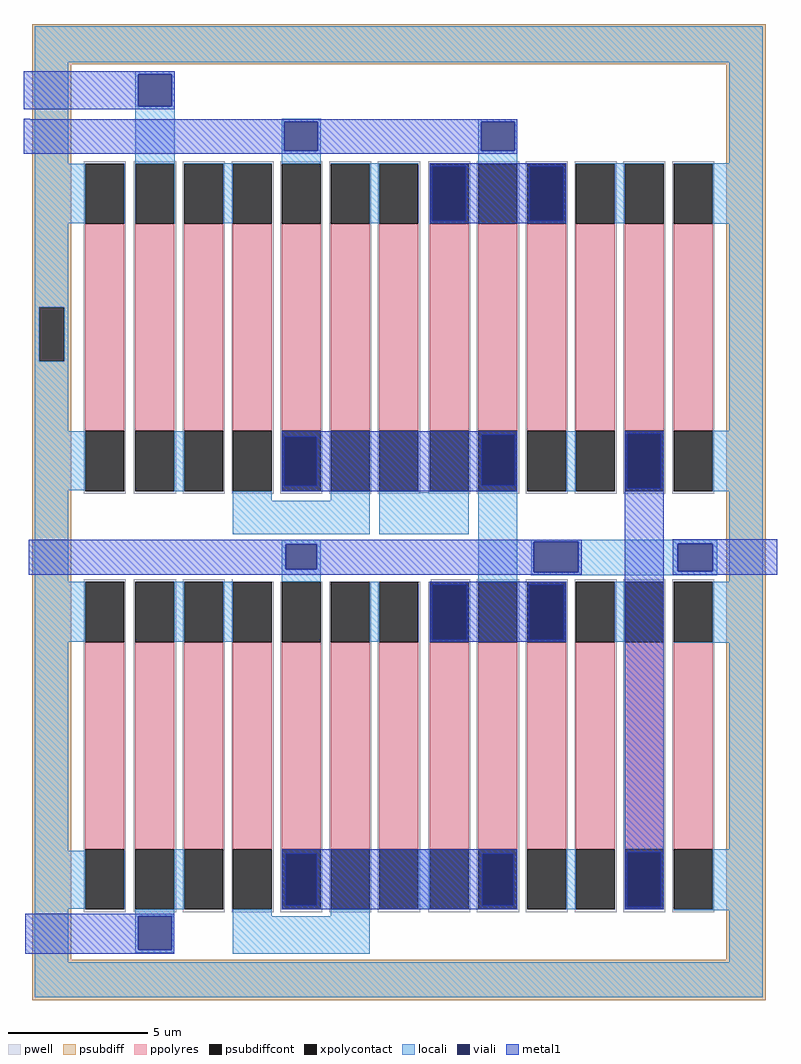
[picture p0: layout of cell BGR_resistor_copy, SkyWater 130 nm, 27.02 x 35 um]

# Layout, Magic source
magic
tech sky130A
<< pwell >>
rect 110 -235 261 958
rect 290 -235 441 958
rect 465 -235 616 958
rect 640 -235 791 958
rect 815 -235 966 958
rect 990 -235 1141 958
rect 1165 -235 1316 958
rect 1345 -235 1496 958
rect 1520 -235 1671 958
rect 1695 -235 1846 958
rect 1870 -235 2021 958
rect 2045 35 2196 958
rect 2045 -235 2195 35
rect 2220 -235 2371 958
rect 110 -1735 261 -542
rect 290 -1735 441 -542
rect 465 -1735 616 -542
rect 640 -550 645 -542
rect 1355 -550 1496 -542
rect 640 -1735 791 -550
rect 815 -1735 966 -550
rect 990 -1735 1141 -550
rect 1165 -1735 1316 -550
rect 1345 -1735 1496 -550
rect 1520 -1735 1671 -542
rect 1695 -1735 1846 -542
rect 1870 -1735 2021 -542
rect 2045 -1725 2195 -542
rect 2045 -1735 2196 -1725
rect 2220 -1735 2371 -542
<< psubdiff >>
rect -75 1305 2555 1450
rect -75 435 65 1305
rect -75 240 -50 435
rect 40 240 65 435
rect -75 -1905 65 240
rect 2415 -1905 2555 1305
rect -75 -2050 2555 -1905
<< psubdiffcont >>
rect -50 240 40 435
<< xpolycontact >>
rect 115 733 255 949
rect 115 -225 255 -9
rect 295 733 435 949
rect 295 -225 435 -9
rect 470 733 610 949
rect 470 -225 610 -9
rect 645 733 785 949
rect 645 -225 785 -9
rect 820 733 960 949
rect 820 -225 960 -9
rect 995 733 1135 949
rect 995 -225 1135 -9
rect 1170 733 1310 949
rect 1170 -225 1310 -9
rect 1350 733 1490 949
rect 1350 -225 1490 -9
rect 1525 733 1665 949
rect 1525 -225 1665 -9
rect 1700 733 1840 949
rect 1700 -225 1840 -9
rect 1875 733 2015 949
rect 1875 -225 2015 -9
rect 2050 733 2190 949
rect 2050 -225 2190 -9
rect 2225 733 2365 949
rect 2225 -225 2365 -9
rect 115 -767 255 -551
rect 115 -1725 255 -1509
rect 295 -767 435 -551
rect 295 -1725 435 -1509
rect 470 -767 610 -551
rect 470 -1725 610 -1509
rect 645 -767 785 -551
rect 645 -1725 785 -1509
rect 820 -767 960 -551
rect 820 -1725 960 -1509
rect 995 -767 1135 -551
rect 995 -1725 1135 -1509
rect 1170 -767 1310 -551
rect 1170 -1725 1310 -1509
rect 1350 -767 1490 -551
rect 1350 -1725 1490 -1509
rect 1525 -767 1665 -551
rect 1525 -1725 1665 -1509
rect 1700 -767 1840 -551
rect 1700 -1725 1840 -1509
rect 1875 -767 2015 -551
rect 1875 -1725 2015 -1509
rect 2050 -767 2190 -551
rect 2050 -1725 2190 -1509
rect 2225 -767 2365 -551
rect 2225 -1725 2365 -1509
<< ppolyres >>
rect 115 -9 255 733
rect 295 -9 435 733
rect 470 -9 610 733
rect 645 -9 785 733
rect 820 -9 960 733
rect 995 -9 1135 733
rect 1170 -9 1310 733
rect 1350 -9 1490 733
rect 1525 -9 1665 733
rect 1700 -9 1840 733
rect 1875 -9 2015 733
rect 2050 -9 2190 733
rect 2225 -9 2365 733
rect 115 -1509 255 -767
rect 295 -1509 435 -767
rect 470 -1509 610 -767
rect 645 -1509 785 -767
rect 820 -1509 960 -767
rect 995 -1509 1135 -767
rect 1170 -1509 1310 -767
rect 1350 -1509 1490 -767
rect 1525 -1509 1665 -767
rect 1700 -1509 1840 -767
rect 1875 -1509 2015 -767
rect 2050 -1509 2190 -767
rect 2225 -1509 2365 -767
<< locali >>
rect -65 1440 2543 1442
rect -65 1312 2545 1440
rect -65 949 55 1312
rect 295 1270 437 1280
rect 295 1155 305 1270
rect 425 1155 437 1270
rect 295 1145 437 1155
rect 294 949 437 1145
rect 820 1100 960 1110
rect 820 995 830 1100
rect 950 995 960 1100
rect -65 736 115 949
rect -65 435 55 736
rect 255 736 257 949
rect 294 733 295 949
rect 435 733 437 949
rect 470 949 785 950
rect 610 735 645 949
rect 820 949 960 995
rect 1525 1100 1665 1109
rect 1525 995 1535 1100
rect 1655 995 1665 1100
rect 995 949 1310 950
rect 1525 949 1665 995
rect 2425 951 2545 1312
rect 1875 949 2190 950
rect 2227 949 2545 951
rect 1135 735 1170 949
rect 2015 735 2050 949
rect 2365 733 2545 949
rect -65 240 -50 435
rect 40 240 55 435
rect -65 -11 55 240
rect 2425 -9 2545 733
rect -65 -222 115 -11
rect -65 -550 55 -222
rect 435 -225 470 -10
rect 645 -260 785 -225
rect 995 -260 1135 -225
rect 645 -380 1135 -260
rect 1170 -230 1310 -225
rect 1350 -230 1490 -225
rect 1170 -380 1490 -230
rect 1840 -225 1875 -10
rect 2365 -225 2545 -9
rect 820 -415 960 -400
rect 820 -505 835 -415
rect 945 -505 960 -415
rect -65 -551 255 -550
rect -65 -765 115 -551
rect -65 -1514 55 -765
rect 295 -551 785 -550
rect 435 -765 470 -551
rect 610 -765 645 -551
rect 820 -551 960 -505
rect 995 -551 1310 -550
rect 1525 -551 1665 -225
rect 1714 -407 2382 -399
rect 1714 -516 1723 -407
rect 1883 -414 2382 -407
rect 1883 -512 2240 -414
rect 2365 -512 2382 -414
rect 1883 -516 2382 -512
rect 1714 -526 2382 -516
rect 2425 -550 2545 -225
rect 1875 -551 2190 -550
rect 2227 -551 2545 -550
rect 1135 -765 1170 -551
rect 2015 -765 2050 -551
rect 2365 -767 2545 -551
rect 2227 -768 2545 -767
rect -65 -1722 115 -1514
rect -65 -1915 55 -1722
rect 255 -1722 257 -1514
rect 435 -1725 470 -1510
rect 1310 -1725 1350 -1510
rect 1840 -1725 1875 -1510
rect 2425 -1510 2545 -768
rect 2365 -1725 2545 -1510
rect 295 -1750 435 -1725
rect 295 -1870 305 -1750
rect 425 -1870 435 -1750
rect 295 -1880 435 -1870
rect 645 -1750 785 -1725
rect 995 -1750 1135 -1725
rect 2226 -1728 2545 -1725
rect 645 -1885 1135 -1750
rect 2425 -1915 2545 -1728
rect -65 -2040 2545 -1915
<< viali >>
rect 305 1155 425 1270
rect 830 995 950 1100
rect 1535 995 1655 1100
rect 1360 745 1480 940
rect 1710 745 1830 940
rect 830 -205 945 -30
rect 1537 -204 1656 -23
rect 2060 -215 2180 -20
rect 835 -505 945 -415
rect 1723 -516 1883 -407
rect 2240 -512 2365 -414
rect 1359 -758 1483 -560
rect 1707 -758 1831 -560
rect 835 -1710 945 -1525
rect 1540 -1710 1650 -1525
rect 2060 -1715 2180 -1520
rect 305 -1870 425 -1750
<< metal1 >>
rect -105 1270 437 1280
rect -105 1155 305 1270
rect 425 1155 437 1270
rect -105 1145 437 1155
rect -105 1109 -81 1110
rect -105 1100 1665 1109
rect -105 995 830 1100
rect 950 995 1535 1100
rect 1655 995 1665 1100
rect -105 984 1665 995
rect 1350 940 1840 950
rect 1350 745 1360 940
rect 1480 745 1710 940
rect 1830 745 1840 940
rect 1350 735 1840 745
rect 820 -23 1665 -10
rect 820 -30 1537 -23
rect 820 -205 830 -30
rect 945 -204 1537 -30
rect 1656 -204 1665 -23
rect 945 -205 1665 -204
rect 820 -225 1665 -205
rect 2050 -20 2190 -10
rect 2050 -215 2060 -20
rect 2180 -215 2190 -20
rect 727 -400 1896 -399
rect -88 -407 1896 -400
rect -88 -415 1723 -407
rect -88 -505 835 -415
rect 945 -505 1723 -415
rect -88 -516 1723 -505
rect 1883 -516 1896 -407
rect -88 -525 1896 -516
rect 1350 -560 1840 -551
rect 1350 -758 1359 -560
rect 1483 -758 1707 -560
rect 1831 -758 1840 -560
rect 1350 -766 1840 -758
rect 820 -1525 1665 -1510
rect 820 -1710 835 -1525
rect 945 -1710 1540 -1525
rect 1650 -1710 1665 -1525
rect 820 -1725 1665 -1710
rect 2050 -1520 2190 -215
rect 2223 -414 2597 -398
rect 2223 -512 2240 -414
rect 2365 -512 2597 -414
rect 2223 -525 2597 -512
rect 2050 -1715 2060 -1520
rect 2180 -1715 2190 -1520
rect 2050 -1725 2190 -1715
rect -100 -1750 435 -1740
rect -100 -1870 305 -1750
rect 425 -1870 435 -1750
rect -100 -1885 435 -1870
<< end >>
